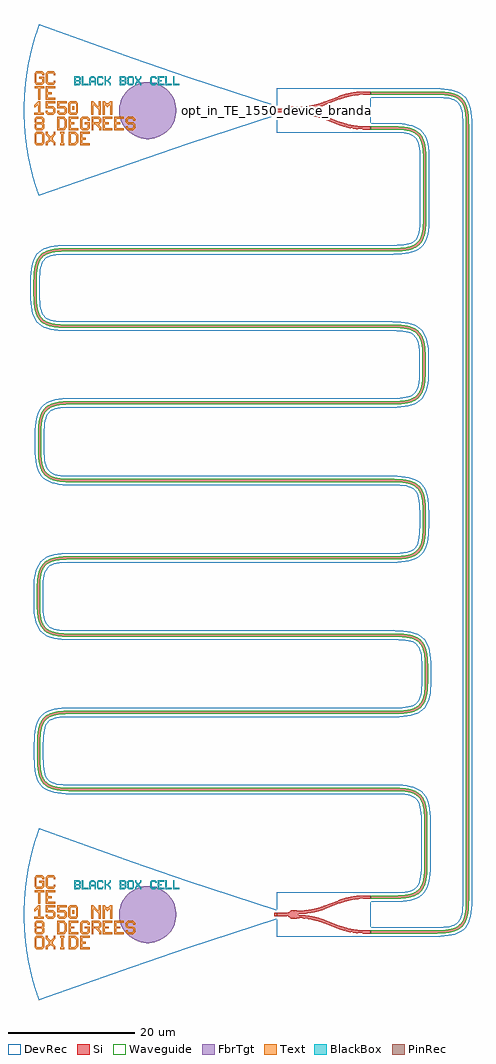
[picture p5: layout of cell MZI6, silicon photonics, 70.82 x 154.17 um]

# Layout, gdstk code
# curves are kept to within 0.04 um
import gdstk
lib = gdstk.Library(unit=1e-6, precision=1e-09)
def R(c, l, rs):  # rectangles x0, y0, x1, y1
    for r in rs: c.add(gdstk.rectangle(r[:2], r[2:], *l))
def P(c, l, *ps):  # polygons
    for p in ps: c.add(gdstk.Polygon(p, *l))
Si = (1, 0)
PinRec = (1, 10)
Waveguide = (1, 99)
Text = (10, 0)
DevRec = (68, 0)
FbrTgt = (81, 0)
BlackBox = (998, 0)

waveguide_4 = lib.new_cell('Waveguide$4')
P(waveguide_4, Si, [(-247.6,-193.41),(-247.6,-192.91),(-236.871,-192.905),(-235.739,-192.838),(-234.819,-192.681),(-234.205,-192.473),(-233.805,-192.253),(-233.476,-191.983),(-233.205,-191.653),(-232.813,-190.772),(-232.602,-189.545),(-232.549,-188.16),(-232.549,-65.66),(-232.64,-63.931),(-232.894,-62.795),(-233.334,-61.992),(-233.632,-61.694),(-233.996,-61.45),(-234.435,-61.254),(-235.103,-61.075),(-236.093,-60.948),(-237.082,-60.911),(-247.6,-60.91),(-247.6,-60.41),(-237.078,-60.411),(-235.868,-60.465),(-234.85,-60.617),(-234.132,-60.835),(-233.419,-61.227),(-232.948,-61.676),(-232.589,-62.237),(-232.294,-63.056),(-232.144,-63.869),(-232.059,-65.012),(-232.049,-188.16),(-232.104,-189.591),(-232.376,-191.053),(-232.588,-191.582),(-232.866,-192.04),(-233.216,-192.426),(-233.638,-192.74),(-234.131,-192.984),(-234.695,-193.165),(-235.685,-193.336),(-236.861,-193.405)])
P(waveguide_4, Waveguide, [(-247.6,-193.41),(-247.6,-192.91),(-236.871,-192.905),(-235.739,-192.838),(-234.819,-192.681),(-234.205,-192.473),(-233.805,-192.253),(-233.476,-191.983),(-233.205,-191.653),(-232.813,-190.772),(-232.602,-189.545),(-232.549,-188.16),(-232.549,-65.66),(-232.64,-63.931),(-232.894,-62.795),(-233.334,-61.992),(-233.632,-61.694),(-233.996,-61.45),(-234.435,-61.254),(-235.103,-61.075),(-236.093,-60.948),(-237.082,-60.911),(-247.6,-60.91),(-247.6,-60.41),(-237.078,-60.411),(-235.868,-60.465),(-234.85,-60.617),(-234.132,-60.835),(-233.419,-61.227),(-232.948,-61.676),(-232.589,-62.237),(-232.294,-63.056),(-232.144,-63.869),(-232.059,-65.012),(-232.049,-188.16),(-232.104,-189.591),(-232.376,-191.053),(-232.588,-191.582),(-232.866,-192.04),(-233.216,-192.426),(-233.638,-192.74),(-234.131,-192.984),(-234.695,-193.165),(-235.685,-193.336),(-236.861,-193.405)])
P(waveguide_4, DevRec, [(-247.6,-193.91),(-247.6,-192.41),(-236.649,-192.399),(-235.554,-192.312),(-234.723,-192.134),(-234.14,-191.874),(-233.923,-191.717),(-233.584,-191.318),(-233.224,-190.353),(-233.091,-189.39),(-233.049,-188.16),(-233.049,-65.66),(-233.147,-63.915),(-233.325,-63.084),(-233.445,-62.764),(-233.742,-62.284),(-233.924,-62.102),(-234.404,-61.805),(-235.555,-61.507),(-237.3,-61.41),(-247.6,-61.41),(-247.6,-59.91),(-237.298,-59.91),(-235.949,-59.956),(-234.79,-60.119),(-233.79,-60.437),(-232.95,-60.962),(-232.602,-61.31),(-232.311,-61.709),(-231.895,-62.632),(-231.661,-63.707),(-231.56,-64.958),(-231.549,-188.16),(-231.595,-189.51),(-231.758,-190.669),(-231.894,-191.187),(-232.31,-192.11),(-232.949,-192.857),(-233.348,-193.148),(-234.271,-193.564),(-235.346,-193.798),(-236.597,-193.899)])
waveguide_4.add(gdstk.FlexPath([(-247.59,-60.66),(-247.61,-60.66)], 0.5, ends="flush", simple_path=True, layer=1, datatype=10))  # PinRec
waveguide_4.add(gdstk.FlexPath([(-247.59,-193.16),(-247.61,-193.16)], 0.5, ends="flush", simple_path=True, layer=1, datatype=10))  # PinRec
waveguide_4.add(gdstk.Label('opt1', (-247.6,-60.66), layer=1, texttype=10))
waveguide_4.add(gdstk.Label('opt2', (-247.6,-193.16), layer=1, texttype=10))
waveguide_4.add(gdstk.Label('Lumerical_INTERCONNECT_library=Design kits/EBeam', (-247.6,-60.76), layer=68, texttype=0))
waveguide_4.add(gdstk.Label('Component=ebeam_wg_integral_1550', (-247.6,-60.56), layer=68, texttype=0))
waveguide_4.add(gdstk.Label('cellName=Waveguide', (-247.6,-60.46), layer=68, texttype=0))
waveguide_4.add(gdstk.Label('Spice_param:wg_length=0.000159999 wg_width=5e-07 points="[[-247.6,-60.66],[-232.299,-60.66],[-232.299,-193.16],[-247.6,-193.16]]" radius=5e-06', (-247.6,-60.66), layer=68, texttype=0))
waveguide_4.add(gdstk.Label('Length=159.999 (microns)', (-247.6,-61.26), layer=68, texttype=0))
waveguide_4.add(gdstk.Label('waveguide_type=Strip TE 1550 nm, w=500 nm', (-247.6,-60.86), layer=68, texttype=0))

waveguide = lib.new_cell('Waveguide')
P(waveguide, Si, [(-247.6,-187.91),(-247.6,-187.41),(-243.04,-187.392),(-241.98,-187.297),(-241.257,-187.145),(-240.669,-186.922),(-240.202,-186.625),(-239.776,-186.153),(-239.509,-185.641),(-239.257,-184.704),(-239.129,-183.291),(-239.159,-174.443),(-239.316,-173.308),(-239.608,-172.449),(-240.047,-171.827),(-240.67,-171.387),(-241.129,-171.203),(-241.826,-171.037),(-243.653,-170.901),(-295.02,-170.9),(-296.263,-170.859),(-297.151,-170.754),(-298.188,-170.474),(-299.004,-170.001),(-299.53,-169.421),(-299.943,-168.543),(-300.176,-167.44),(-300.266,-166.087),(-300.26,-162.822),(-300.094,-161.177),(-299.895,-160.437),(-299.667,-159.926),(-299.286,-159.387),(-298.9,-159.037),(-298.317,-158.7),(-297.77,-158.504),(-296.983,-158.338),(-296.069,-158.247),(-243.77,-158.22),(-242.563,-158.181),(-241.428,-158.024),(-240.466,-157.679),(-240.102,-157.435),(-239.804,-157.137),(-239.364,-156.334),(-239.11,-155.198),(-239.024,-153.897),(-239.02,-151.29),(-239.111,-149.561),(-239.249,-148.81),(-239.457,-148.196),(-239.677,-147.796),(-240.024,-147.393),(-240.57,-147.027),(-241.291,-146.768),(-242.211,-146.611),(-243.343,-146.544),(-295.06,-146.54),(-296.303,-146.499),(-297.191,-146.394),(-298.228,-146.114),(-298.941,-145.722),(-299.493,-145.17),(-299.936,-144.322),(-300.165,-143.42),(-300.293,-142.141),(-300.308,-138.847),(-300.236,-137.456),(-300.102,-136.62),(-299.884,-135.902),(-299.569,-135.298),(-299.142,-134.803),(-298.603,-134.422),(-297.953,-134.147),(-297.19,-133.965),(-296.109,-133.847),(-244.11,-133.82),(-242.903,-133.781),(-241.768,-133.624),(-240.806,-133.279),(-240.213,-132.816),(-239.796,-132.163),(-239.497,-131.114),(-239.364,-129.497),(-239.399,-125.653),(-239.589,-124.38),(-239.797,-123.766),(-240.017,-123.366),(-240.528,-122.829),(-241.246,-122.454),(-242.221,-122.222),(-243.479,-122.119),(-294.88,-122.11),(-296.123,-122.069),(-297.011,-121.964),(-298.048,-121.684),(-298.761,-121.292),(-299.313,-120.74),(-299.756,-119.892),(-299.985,-118.99),(-300.113,-117.711),(-300.13,-114.58),(-300.074,-113.148),(-299.954,-112.287),(-299.755,-111.547),(-299.46,-110.919),(-299.057,-110.403),(-298.54,-109.999),(-297.912,-109.704),(-297.172,-109.505),(-296.122,-109.37),(-244.15,-109.33),(-242.943,-109.291),(-241.808,-109.134),(-240.846,-108.789),(-240.253,-108.326),(-239.836,-107.673),(-239.565,-106.776),(-239.409,-105.211),(-239.418,-101.65),(-239.596,-100.138),(-239.941,-99.176),(-240.185,-98.812),(-240.483,-98.514),(-241.169,-98.119),(-242.106,-97.867),(-243.519,-97.739),(-295.595,-97.73),(-297.559,-97.611),(-298.628,-97.355),(-299.367,-96.989),(-300.028,-96.36),(-300.42,-95.647),(-300.67,-94.772),(-300.805,-93.722),(-300.835,-89.762),(-300.75,-88.619),(-300.6,-87.806),(-300.305,-86.987),(-299.946,-86.426),(-299.475,-85.977),(-298.762,-85.585),(-298.044,-85.367),(-297.026,-85.215),(-295.595,-85.16),(-244.04,-85.16),(-242.311,-85.069),(-241.698,-84.964),(-241.058,-84.77),(-240.372,-84.375),(-240.074,-84.077),(-239.83,-83.713),(-239.518,-82.889),(-239.343,-81.795),(-239.29,-80.41),(-239.295,-70.732),(-239.403,-69.27),(-239.635,-68.295),(-239.947,-67.666),(-240.373,-67.194),(-240.947,-66.846),(-241.699,-66.605),(-243.409,-66.419),(-247.6,-66.41),(-247.6,-65.91),(-243.393,-65.919),(-242.25,-66.004),(-241.437,-66.154),(-240.743,-66.39),(-240.16,-66.727),(-239.689,-67.176),(-239.33,-67.737),(-239.075,-68.409),(-238.885,-69.369),(-238.79,-71.16),(-238.791,-80.631),(-238.884,-82.2),(-239.117,-83.303),(-239.53,-84.181),(-240.159,-84.842),(-240.872,-85.234),(-241.436,-85.415),(-242.249,-85.565),(-244.04,-85.66),(-296.801,-85.698),(-297.791,-85.825),(-298.459,-86.004),(-299.088,-86.316),(-299.56,-86.742),(-299.908,-87.316),(-300.116,-87.93),(-300.254,-88.681),(-300.335,-89.778),(-300.307,-93.686),(-300.18,-94.676),(-299.956,-95.461),(-299.561,-96.147),(-299.089,-96.573),(-298.46,-96.885),(-297.485,-97.117),(-295.595,-97.23),(-243.503,-97.239),(-242.02,-97.375),(-240.853,-97.71),(-240.068,-98.213),(-239.503,-98.936),(-239.275,-99.447),(-239.108,-100.03),(-238.918,-101.628),(-238.909,-105.227),(-238.973,-106.193),(-239.107,-107.029),(-239.439,-108.002),(-239.973,-108.757),(-240.727,-109.29),(-241.7,-109.622),(-242.718,-109.774),(-244.15,-109.83),(-296.086,-109.868),(-296.924,-109.967),(-297.621,-110.133),(-298.183,-110.37),(-298.626,-110.683),(-298.973,-111.086),(-299.285,-111.715),(-299.464,-112.383),(-299.576,-113.194),(-299.621,-117.491),(-299.518,-118.749),(-299.327,-119.601),(-298.974,-120.353),(-298.548,-120.825),(-297.862,-121.22),(-296.925,-121.472),(-296.087,-121.571),(-294.88,-121.61),(-243.463,-121.619),(-241.98,-121.755),(-240.943,-122.035),(-240.23,-122.427),(-239.601,-123.088),(-239.341,-123.562),(-239.145,-124.109),(-238.901,-125.617),(-238.864,-129.507),(-238.915,-130.501),(-239.035,-131.362),(-239.399,-132.492),(-239.933,-133.247),(-240.687,-133.78),(-241.66,-134.112),(-242.678,-134.264),(-244.11,-134.32),(-296.081,-134.347),(-296.949,-134.432),(-297.672,-134.584),(-298.26,-134.807),(-298.727,-135.104),(-299.09,-135.487),(-299.373,-135.976),(-299.581,-136.59),(-299.719,-137.341),(-299.805,-138.642),(-299.801,-141.921),(-299.698,-143.179),(-299.507,-144.031),(-299.154,-144.783),(-298.728,-145.255),(-298.042,-145.65),(-297.105,-145.902),(-296.267,-146.001),(-295.06,-146.04),(-243.333,-146.044),(-241.98,-146.134),(-241.02,-146.324),(-240.227,-146.642),(-239.593,-147.113),(-239.261,-147.518),(-238.946,-148.122),(-238.728,-148.84),(-238.594,-149.676),(-238.525,-150.852),(-238.521,-153.691),(-238.638,-155.433),(-238.945,-156.637),(-239.189,-157.13),(-239.503,-157.552),(-240.226,-158.117),(-240.737,-158.345),(-241.32,-158.512),(-242.338,-158.664),(-243.77,-158.72),(-295.849,-158.737),(-296.748,-158.81),(-297.499,-158.948),(-298.113,-159.156),(-298.513,-159.376),(-298.916,-159.723),(-299.229,-160.166),(-299.425,-160.605),(-299.604,-161.273),(-299.76,-162.838),(-299.769,-165.867),(-299.699,-167.209),(-299.506,-168.262),(-299.173,-169.05),(-298.688,-169.615),(-298.002,-170.01),(-297.065,-170.262),(-296.227,-170.361),(-295.02,-170.4),(-243.649,-170.401),(-241.74,-170.545),(-240.977,-170.727),(-240.448,-170.939),(-239.693,-171.473),(-239.223,-172.106),(-238.865,-173.046),(-238.676,-174.218),(-238.62,-175.65),(-238.629,-183.307),(-238.765,-184.79),(-239.045,-185.827),(-239.437,-186.54),(-239.886,-187.011),(-240.447,-187.37),(-241.266,-187.665),(-242.079,-187.815),(-243.222,-187.9)])
P(waveguide, Waveguide, [(-247.6,-187.91),(-247.6,-187.41),(-243.04,-187.392),(-241.98,-187.297),(-241.257,-187.145),(-240.669,-186.922),(-240.202,-186.625),(-239.776,-186.153),(-239.509,-185.641),(-239.257,-184.704),(-239.129,-183.291),(-239.159,-174.443),(-239.316,-173.308),(-239.608,-172.449),(-240.047,-171.827),(-240.67,-171.387),(-241.129,-171.203),(-241.826,-171.037),(-243.653,-170.901),(-295.02,-170.9),(-296.263,-170.859),(-297.151,-170.754),(-298.188,-170.474),(-299.004,-170.001),(-299.53,-169.421),(-299.943,-168.543),(-300.176,-167.44),(-300.266,-166.087),(-300.26,-162.822),(-300.094,-161.177),(-299.895,-160.437),(-299.667,-159.926),(-299.286,-159.387),(-298.9,-159.037),(-298.317,-158.7),(-297.77,-158.504),(-296.983,-158.338),(-296.069,-158.247),(-243.77,-158.22),(-242.563,-158.181),(-241.428,-158.024),(-240.466,-157.679),(-240.102,-157.435),(-239.804,-157.137),(-239.364,-156.334),(-239.11,-155.198),(-239.024,-153.897),(-239.02,-151.29),(-239.111,-149.561),(-239.249,-148.81),(-239.457,-148.196),(-239.677,-147.796),(-240.024,-147.393),(-240.57,-147.027),(-241.291,-146.768),(-242.211,-146.611),(-243.343,-146.544),(-295.06,-146.54),(-296.303,-146.499),(-297.191,-146.394),(-298.228,-146.114),(-298.941,-145.722),(-299.493,-145.17),(-299.936,-144.322),(-300.165,-143.42),(-300.293,-142.141),(-300.308,-138.847),(-300.236,-137.456),(-300.102,-136.62),(-299.884,-135.902),(-299.569,-135.298),(-299.142,-134.803),(-298.603,-134.422),(-297.953,-134.147),(-297.19,-133.965),(-296.109,-133.847),(-244.11,-133.82),(-242.903,-133.781),(-241.768,-133.624),(-240.806,-133.279),(-240.213,-132.816),(-239.796,-132.163),(-239.497,-131.114),(-239.364,-129.497),(-239.399,-125.653),(-239.589,-124.38),(-239.797,-123.766),(-240.017,-123.366),(-240.528,-122.829),(-241.246,-122.454),(-242.221,-122.222),(-243.479,-122.119),(-294.88,-122.11),(-296.123,-122.069),(-297.011,-121.964),(-298.048,-121.684),(-298.761,-121.292),(-299.313,-120.74),(-299.756,-119.892),(-299.985,-118.99),(-300.113,-117.711),(-300.13,-114.58),(-300.074,-113.148),(-299.954,-112.287),(-299.755,-111.547),(-299.46,-110.919),(-299.057,-110.403),(-298.54,-109.999),(-297.912,-109.704),(-297.172,-109.505),(-296.122,-109.37),(-244.15,-109.33),(-242.943,-109.291),(-241.808,-109.134),(-240.846,-108.789),(-240.253,-108.326),(-239.836,-107.673),(-239.565,-106.776),(-239.409,-105.211),(-239.418,-101.65),(-239.596,-100.138),(-239.941,-99.176),(-240.185,-98.812),(-240.483,-98.514),(-241.169,-98.119),(-242.106,-97.867),(-243.519,-97.739),(-295.595,-97.73),(-297.559,-97.611),(-298.628,-97.355),(-299.367,-96.989),(-300.028,-96.36),(-300.42,-95.647),(-300.67,-94.772),(-300.805,-93.722),(-300.835,-89.762),(-300.75,-88.619),(-300.6,-87.806),(-300.305,-86.987),(-299.946,-86.426),(-299.475,-85.977),(-298.762,-85.585),(-298.044,-85.367),(-297.026,-85.215),(-295.595,-85.16),(-244.04,-85.16),(-242.311,-85.069),(-241.698,-84.964),(-241.058,-84.77),(-240.372,-84.375),(-240.074,-84.077),(-239.83,-83.713),(-239.518,-82.889),(-239.343,-81.795),(-239.29,-80.41),(-239.295,-70.732),(-239.403,-69.27),(-239.635,-68.295),(-239.947,-67.666),(-240.373,-67.194),(-240.947,-66.846),(-241.699,-66.605),(-243.409,-66.419),(-247.6,-66.41),(-247.6,-65.91),(-243.393,-65.919),(-242.25,-66.004),(-241.437,-66.154),(-240.743,-66.39),(-240.16,-66.727),(-239.689,-67.176),(-239.33,-67.737),(-239.075,-68.409),(-238.885,-69.369),(-238.79,-71.16),(-238.791,-80.631),(-238.884,-82.2),(-239.117,-83.303),(-239.53,-84.181),(-240.159,-84.842),(-240.872,-85.234),(-241.436,-85.415),(-242.249,-85.565),(-244.04,-85.66),(-296.801,-85.698),(-297.791,-85.825),(-298.459,-86.004),(-299.088,-86.316),(-299.56,-86.742),(-299.908,-87.316),(-300.116,-87.93),(-300.254,-88.681),(-300.335,-89.778),(-300.307,-93.686),(-300.18,-94.676),(-299.956,-95.461),(-299.561,-96.147),(-299.089,-96.573),(-298.46,-96.885),(-297.485,-97.117),(-295.595,-97.23),(-243.503,-97.239),(-242.02,-97.375),(-240.853,-97.71),(-240.068,-98.213),(-239.503,-98.936),(-239.275,-99.447),(-239.108,-100.03),(-238.918,-101.628),(-238.909,-105.227),(-238.973,-106.193),(-239.107,-107.029),(-239.439,-108.002),(-239.973,-108.757),(-240.727,-109.29),(-241.7,-109.622),(-242.718,-109.774),(-244.15,-109.83),(-296.086,-109.868),(-296.924,-109.967),(-297.621,-110.133),(-298.183,-110.37),(-298.626,-110.683),(-298.973,-111.086),(-299.285,-111.715),(-299.464,-112.383),(-299.576,-113.194),(-299.621,-117.491),(-299.518,-118.749),(-299.327,-119.601),(-298.974,-120.353),(-298.548,-120.825),(-297.862,-121.22),(-296.925,-121.472),(-296.087,-121.571),(-294.88,-121.61),(-243.463,-121.619),(-241.98,-121.755),(-240.943,-122.035),(-240.23,-122.427),(-239.601,-123.088),(-239.341,-123.562),(-239.145,-124.109),(-238.901,-125.617),(-238.864,-129.507),(-238.915,-130.501),(-239.035,-131.362),(-239.399,-132.492),(-239.933,-133.247),(-240.687,-133.78),(-241.66,-134.112),(-242.678,-134.264),(-244.11,-134.32),(-296.081,-134.347),(-296.949,-134.432),(-297.672,-134.584),(-298.26,-134.807),(-298.727,-135.104),(-299.09,-135.487),(-299.373,-135.976),(-299.581,-136.59),(-299.719,-137.341),(-299.805,-138.642),(-299.801,-141.921),(-299.698,-143.179),(-299.507,-144.031),(-299.154,-144.783),(-298.728,-145.255),(-298.042,-145.65),(-297.105,-145.902),(-296.267,-146.001),(-295.06,-146.04),(-243.333,-146.044),(-241.98,-146.134),(-241.02,-146.324),(-240.227,-146.642),(-239.593,-147.113),(-239.261,-147.518),(-238.946,-148.122),(-238.728,-148.84),(-238.594,-149.676),(-238.525,-150.852),(-238.521,-153.691),(-238.638,-155.433),(-238.945,-156.637),(-239.189,-157.13),(-239.503,-157.552),(-240.226,-158.117),(-240.737,-158.345),(-241.32,-158.512),(-242.338,-158.664),(-243.77,-158.72),(-295.849,-158.737),(-296.748,-158.81),(-297.499,-158.948),(-298.113,-159.156),(-298.513,-159.376),(-298.916,-159.723),(-299.229,-160.166),(-299.425,-160.605),(-299.604,-161.273),(-299.76,-162.838),(-299.769,-165.867),(-299.699,-167.209),(-299.506,-168.262),(-299.173,-169.05),(-298.688,-169.615),(-298.002,-170.01),(-297.065,-170.262),(-296.227,-170.361),(-295.02,-170.4),(-243.649,-170.401),(-241.74,-170.545),(-240.977,-170.727),(-240.448,-170.939),(-239.693,-171.473),(-239.223,-172.106),(-238.865,-173.046),(-238.676,-174.218),(-238.62,-175.65),(-238.629,-183.307),(-238.765,-184.79),(-239.045,-185.827),(-239.437,-186.54),(-239.886,-187.011),(-240.447,-187.37),(-241.266,-187.665),(-242.079,-187.815),(-243.222,-187.9)])
P(waveguide, DevRec, [(-247.6,-188.41),(-247.6,-186.91),(-243.22,-186.899),(-241.676,-186.734),(-240.711,-186.374),(-240.312,-186.035),(-240.015,-185.555),(-239.717,-184.404),(-239.63,-183.309),(-239.663,-174.419),(-239.796,-173.456),(-240.016,-172.754),(-240.313,-172.274),(-240.495,-172.092),(-240.975,-171.795),(-242.126,-171.497),(-243.87,-171.4),(-295.02,-171.4),(-296.371,-171.353),(-297.53,-171.19),(-298.53,-170.872),(-299.37,-170.347),(-300.009,-169.6),(-300.425,-168.677),(-300.659,-167.602),(-300.76,-166.351),(-300.759,-162.768),(-300.56,-160.96),(-300.242,-159.96),(-300.008,-159.519),(-299.369,-158.772),(-298.97,-158.481),(-298.047,-158.065),(-297.529,-157.929),(-296.37,-157.766),(-295.02,-157.72),(-243.77,-157.72),(-242.539,-157.677),(-241.576,-157.544),(-240.874,-157.324),(-240.394,-157.027),(-240.212,-156.845),(-239.915,-156.365),(-239.795,-156.045),(-239.617,-155.214),(-239.52,-153.467),(-239.563,-150.059),(-239.796,-148.714),(-240.056,-148.131),(-240.395,-147.732),(-240.875,-147.435),(-241.577,-147.215),(-243.121,-147.05),(-295.06,-147.04),(-296.411,-146.993),(-297.57,-146.83),(-298.57,-146.512),(-299.41,-145.987),(-300.049,-145.24),(-300.465,-144.317),(-300.699,-143.242),(-300.8,-141.991),(-300.799,-138.368),(-300.698,-137.117),(-300.464,-136.042),(-300.282,-135.56),(-299.757,-134.72),(-299.409,-134.372),(-299.01,-134.081),(-298.087,-133.665),(-297.569,-133.529),(-296.41,-133.366),(-295.06,-133.32),(-244.11,-133.32),(-242.879,-133.277),(-241.916,-133.144),(-241.214,-132.924),(-240.734,-132.627),(-240.552,-132.445),(-240.255,-131.965),(-240.135,-131.645),(-239.957,-130.814),(-239.86,-129.067),(-239.903,-125.629),(-240.036,-124.666),(-240.396,-123.701),(-240.553,-123.484),(-240.952,-123.145),(-241.535,-122.885),(-242.366,-122.707),(-243.461,-122.62),(-294.88,-122.61),(-296.833,-122.498),(-297.908,-122.264),(-298.831,-121.848),(-299.578,-121.209),(-300.103,-120.369),(-300.421,-119.369),(-300.584,-118.21),(-300.63,-114.577),(-300.583,-113.229),(-300.42,-112.07),(-300.284,-111.552),(-299.868,-110.629),(-299.577,-110.23),(-299.229,-109.882),(-298.389,-109.357),(-297.389,-109.039),(-296.23,-108.876),(-294.88,-108.83),(-244.15,-108.83),(-242.919,-108.787),(-241.956,-108.654),(-241.254,-108.434),(-240.774,-108.137),(-240.592,-107.955),(-240.295,-107.475),(-240.175,-107.155),(-239.997,-106.324),(-239.9,-104.577),(-239.943,-101.249),(-240.076,-100.286),(-240.436,-99.321),(-240.593,-99.104),(-240.992,-98.765),(-241.575,-98.505),(-242.406,-98.327),(-243.501,-98.24),(-295.595,-98.23),(-297.548,-98.118),(-298.623,-97.884),(-299.546,-97.468),(-300.293,-96.829),(-300.818,-95.989),(-301.136,-94.989),(-301.299,-93.83),(-301.334,-89.708),(-301.233,-88.457),(-300.999,-87.382),(-300.583,-86.459),(-300.292,-86.06),(-299.944,-85.712),(-299.104,-85.187),(-298.104,-84.869),(-296.945,-84.706),(-295.595,-84.66),(-244.04,-84.66),(-242.295,-84.562),(-241.144,-84.264),(-240.664,-83.967),(-240.482,-83.785),(-240.185,-83.305),(-239.965,-82.603),(-239.832,-81.64),(-239.801,-70.51),(-239.888,-69.415),(-240.066,-68.584),(-240.326,-68.001),(-240.665,-67.602),(-241.145,-67.305),(-241.847,-67.085),(-243.391,-66.92),(-247.6,-66.91),(-247.6,-65.41),(-243.339,-65.42),(-242.088,-65.521),(-241.013,-65.755),(-240.09,-66.171),(-239.691,-66.462),(-239.343,-66.81),(-238.818,-67.65),(-238.636,-68.132),(-238.402,-69.207),(-238.29,-71.159),(-238.29,-80.411),(-238.401,-82.362),(-238.635,-83.437),(-239.051,-84.36),(-239.69,-85.107),(-240.53,-85.632),(-241.012,-85.814),(-242.087,-86.048),(-244.04,-86.16),(-295.595,-86.16),(-296.825,-86.202),(-298.17,-86.435),(-298.753,-86.695),(-299.152,-87.034),(-299.449,-87.514),(-299.669,-88.216),(-299.834,-89.76),(-299.835,-93.129),(-299.748,-94.224),(-299.57,-95.055),(-299.31,-95.638),(-299.153,-95.855),(-298.754,-96.194),(-298.171,-96.454),(-297.34,-96.632),(-295.595,-96.73),(-243.449,-96.74),(-241.641,-96.939),(-240.641,-97.257),(-239.801,-97.782),(-239.453,-98.13),(-238.928,-98.97),(-238.61,-99.97),(-238.411,-101.778),(-238.41,-105.281),(-238.609,-107.089),(-238.927,-108.089),(-239.452,-108.929),(-240.199,-109.568),(-240.64,-109.802),(-241.64,-110.12),(-242.799,-110.283),(-244.15,-110.33),(-294.88,-110.33),(-296.11,-110.372),(-297.455,-110.605),(-297.775,-110.725),(-298.255,-111.022),(-298.594,-111.421),(-298.854,-112.004),(-299.087,-113.349),(-299.12,-117.509),(-299.033,-118.604),(-298.855,-119.435),(-298.595,-120.018),(-298.438,-120.235),(-298.039,-120.574),(-297.456,-120.834),(-296.625,-121.012),(-294.88,-121.11),(-243.409,-121.12),(-241.601,-121.319),(-240.601,-121.637),(-239.761,-122.162),(-239.122,-122.909),(-238.706,-123.832),(-238.57,-124.35),(-238.407,-125.509),(-238.37,-129.771),(-238.569,-131.579),(-238.887,-132.579),(-239.412,-133.419),(-240.159,-134.058),(-240.6,-134.292),(-241.6,-134.61),(-242.759,-134.773),(-244.11,-134.82),(-295.709,-134.83),(-297.253,-134.995),(-298.218,-135.355),(-298.617,-135.694),(-298.914,-136.174),(-299.212,-137.325),(-299.299,-138.42),(-299.3,-141.939),(-299.213,-143.034),(-299.035,-143.865),(-298.775,-144.448),(-298.618,-144.665),(-298.219,-145.004),(-297.636,-145.264),(-296.805,-145.442),(-295.06,-145.54),(-243.069,-145.55),(-241.818,-145.651),(-240.743,-145.885),(-239.82,-146.301),(-239.421,-146.592),(-239.073,-146.94),(-238.548,-147.78),(-238.366,-148.262),(-238.132,-149.337),(-238.02,-151.287),(-238.03,-154.171),(-238.131,-155.422),(-238.365,-156.497),(-238.547,-156.979),(-239.072,-157.819),(-239.819,-158.458),(-240.26,-158.692),(-241.26,-159.01),(-242.419,-159.173),(-243.77,-159.22),(-295.669,-159.23),(-297.213,-159.395),(-298.178,-159.755),(-298.395,-159.912),(-298.734,-160.311),(-299.094,-161.276),(-299.259,-162.82),(-299.27,-165.647),(-299.228,-166.88),(-298.995,-168.225),(-298.735,-168.808),(-298.578,-169.025),(-298.179,-169.364),(-297.596,-169.624),(-296.765,-169.802),(-295.02,-169.9),(-243.87,-169.9),(-241.918,-170.011),(-240.843,-170.245),(-240.361,-170.427),(-239.521,-170.952),(-238.882,-171.699),(-238.466,-172.622),(-238.232,-173.697),(-238.12,-175.649),(-238.13,-183.361),(-238.329,-185.169),(-238.647,-186.169),(-239.172,-187.009),(-239.52,-187.357),(-240.36,-187.882),(-241.36,-188.2),(-243.168,-188.399)])
waveguide.add(gdstk.FlexPath([(-247.59,-66.16),(-247.61,-66.16)], 0.5, ends="flush", simple_path=True, layer=1, datatype=10))  # PinRec
waveguide.add(gdstk.FlexPath([(-247.59,-187.66),(-247.61,-187.66)], 0.5, ends="flush", simple_path=True, layer=1, datatype=10))  # PinRec
waveguide.add(gdstk.Label('opt1', (-247.6,-66.16), layer=1, texttype=10))
waveguide.add(gdstk.Label('opt2', (-247.6,-187.66), layer=1, texttype=10))
waveguide.add(gdstk.Label('Lumerical_INTERCONNECT_library=Design kits/EBeam', (-247.6,-66.26), layer=68, texttype=0))
waveguide.add(gdstk.Label('Component=ebeam_wg_integral_1550', (-247.6,-66.06), layer=68, texttype=0))
waveguide.add(gdstk.Label('cellName=Waveguide', (-247.6,-65.96), layer=68, texttype=0))
waveguide.add(gdstk.Label('Length=600.000 (microns)', (-247.6,-66.76), layer=68, texttype=0))
waveguide.add(gdstk.Label('waveguide_type=Strip TE 1550 nm, w=500 nm', (-247.6,-66.36), layer=68, texttype=0))

ebeam_y_1550 = lib.new_cell('ebeam_y_1550')
R(ebeam_y_1550, Si, [(6.5,-3,7.4,-2.5), (-7.4,-0.25,-6,0.25), (6.5,2.5,7.4,3)])
P(ebeam_y_1550, Si, [(6.458,-3),(6.237,-2.997),(6.237,-2.497),(6.5,-2.5),(6.5,-3)],
  [(5.033,-2.908),(3.59,-2.634),(2.265,-2.21),(2.445,-1.744),(3.731,-2.154),(5.033,-2.404)],
  [(6.233,-2.997),(5.033,-2.908),(5.033,-2.404),(6.237,-2.497)],
  [(2.265,-2.21),(0.055,-1.356),(0.235,-0.89),(2.445,-1.744)],
  [(-0.762,-1.076),(-2.334,-0.724),(-4,-0.6),(-4,-0.1),(-2.381,-0.212),(-0.762,-0.555)],
  [(0.055,-1.356),(-0.762,-1.076),(-0.762,-0.555),(0.235,-0.89)],
  [(6.237,2.497),(6.237,2.997),(6.5,3),(6.5,2.5)],
  [(2.445,1.744),(2.267,2.211),(3.59,2.634),(5.033,2.908),(5.033,2.404),(3.731,2.154)],
  [(5.033,2.404),(5.033,2.908),(6.237,2.997),(6.237,2.497)],
  [(0.235,0.89),(0.055,1.356),(2.265,2.21),(2.445,1.744)],
  [(-4,0.1),(-4,0.6),(-2.334,0.724),(-0.762,1.076),(-0.762,0.555),(-2.381,0.212)],
  [(-0.762,0.555),(-0.762,1.076),(0.055,1.356),(0.235,0.89)],
  [(-5.122,-0.662),(-5.442,-0.374),(-5.808,-0.255),(-6,-0.25),(-6,0.25),(-5.817,0.253),(-5.442,0.374),(-5.122,0.662)],
  [(-4.957,-0.703),(-5.122,-0.662),(-5.122,0.662),(-4.538,0.703),(-4,0.6),(-4,-0.6),(-4.509,-0.701)])
R(ebeam_y_1550, DevRec, [(-7.4,-3.5,7.4,3.5)])
ebeam_y_1550.add(gdstk.FlexPath([(-7.35,0),(-7.45,0)], 0.5, ends="flush", simple_path=True, layer=1, datatype=10))  # PinRec
ebeam_y_1550.add(gdstk.FlexPath([(7.35,2.75),(7.45,2.75)], 0.5, ends="flush", simple_path=True, layer=1, datatype=10))  # PinRec
ebeam_y_1550.add(gdstk.FlexPath([(7.35,-2.75),(7.45,-2.75)], 0.5, ends="flush", simple_path=True, layer=1, datatype=10))  # PinRec
ebeam_y_1550.add(gdstk.Label('opt2', (7.4,2.75), layer=1, texttype=10))
ebeam_y_1550.add(gdstk.Label('opt3', (7.4,-2.75), layer=1, texttype=10))
ebeam_y_1550.add(gdstk.Label('opt1', (-7.4,0), layer=1, texttype=10))
ebeam_y_1550.add(gdstk.Label('Component=ebeam_y_1550', (-6,1.5), layer=68, texttype=0))
ebeam_y_1550.add(gdstk.Label('Lumerical_INTERCONNECT_library=Design kits/ebeam', (-6.86,-2.19), layer=68, texttype=0))
ebeam_y_1550.add(gdstk.Label('Ref: Y Zhang, Opt. Express, 21/1, 2013', (-7.5,-1), layer=10, texttype=0))

text = lib.new_cell('TEXT')
P(text, BlackBox, [(0,0),(0,1.4),(0.8,1.4),(1,1.2),(0.2,1.2),(0.2,0.8),(0.7,0.8),(0.8,0.9),(0.8,1.1),(0.7,1.2),(1,1.2),(1,0.8),(0.9,0.7),(1,0.6),(0.2,0.6),(0.2,0.2),(0.7,0.2),(0.8,0.3),(0.8,0.5),(0.7,0.6),(1,0.6),(1,0.2),(0.8,0)],
  [(1.2,0),(1.2,1.4),(1.4,1.4),(1.4,0.2),(2.2,0.2),(2.2,0)],
  [(2.4,0),(2.4,1.1),(2.7,1.4),(3.1,1.4),(3.3,1.2),(2.8,1.2),(2.6,1),(2.6,0.7),(3.2,0.7),(3.2,1),(3,1.2),(3.3,1.2),(3.4,1.1),(3.4,0),(3.2,0),(3.2,0.5),(2.6,0.5),(2.6,0)],
  [(3.8,0),(3.6,0.2),(3.6,1.2),(3.8,1.4),(4.4,1.4),(4.6,1.2),(4.6,1),(4.4,1),(4.4,1.1),(4.3,1.2),(3.9,1.2),(3.8,1.1),(3.8,0.3),(3.9,0.2),(4.3,0.2),(4.4,0.3),(4.4,0.4),(4.6,0.4),(4.6,0.2),(4.4,0)],
  [(4.8,0),(4.8,1.4),(5,1.4),(5,0.8),(5.2,0.8),(5.6,1.2),(5.6,1.4),(5.8,1.4),(5.8,1.1),(5.4,0.7),(5.8,0.3),(5.8,0),(5.6,0),(5.6,0.2),(5.2,0.6),(5,0.6),(5,0)],
  [(7.2,0),(7.2,1.4),(8,1.4),(8.2,1.2),(7.4,1.2),(7.4,0.8),(7.9,0.8),(8,0.9),(8,1.1),(7.9,1.2),(8.2,1.2),(8.2,0.8),(8.1,0.7),(8.2,0.6),(7.4,0.6),(7.4,0.2),(7.9,0.2),(8,0.3),(8,0.5),(7.9,0.6),(8.2,0.6),(8.2,0.2),(8,0)],
  [(8.6,0),(8.4,0.2),(8.4,1.2),(8.6,1.4),(9.2,1.4),(9.4,1.2),(9.4,0.7),(9.2,0.7),(9.2,1.1),(9.1,1.2),(8.7,1.2),(8.6,1.1),(8.6,0.3),(8.7,0.2),(9.1,0.2),(9.2,0.3),(9.2,0.7),(9.4,0.7),(9.4,0.2),(9.2,0)],
  [(9.6,0),(9.6,0.3),(9.9,0.6),(9.9,0.8),(9.6,1.1),(9.6,1.4),(9.8,1.4),(9.8,1.2),(10.1,0.9),(10.4,1.2),(10.4,1.4),(10.6,1.4),(10.6,1.1),(10.3,0.8),(10.3,0.6),(10.6,0.3),(10.6,0),(10.4,0),(10.4,0.2),(10.1,0.5),(9.8,0.2),(9.8,0)],
  [(12.2,0),(12,0.2),(12,1.2),(12.2,1.4),(12.8,1.4),(13,1.2),(13,1),(12.8,1),(12.8,1.1),(12.7,1.2),(12.3,1.2),(12.2,1.1),(12.2,0.3),(12.3,0.2),(12.7,0.2),(12.8,0.3),(12.8,0.4),(13,0.4),(13,0.2),(12.8,0)],
  [(13.2,0),(13.2,1.4),(14.2,1.4),(14.2,1.2),(13.4,1.2),(13.4,0.8),(13.8,0.8),(13.8,0.6),(13.4,0.6),(13.4,0.2),(14.2,0.2),(14.2,0)],
  [(14.4,0),(14.4,1.4),(14.6,1.4),(14.6,0.2),(15.4,0.2),(15.4,0)],
  [(15.6,0),(15.6,1.4),(15.8,1.4),(15.8,0.2),(16.6,0.2),(16.6,0)])

gc_te_1550_8degoxide_bb = lib.new_cell('GC_TE_1550_8degOxide_BB')
R(gc_te_1550_8degoxide_bb, Si, [(-0.4,-0.25,0,0.25)])
R(gc_te_1550_8degoxide_bb, Text, [(-32.313,0.092,-32.013,0.692)])
P(gc_te_1550_8degoxide_bb, Text, [(-37.67,1.71),(-37.67,3.51),(-38.27,3.51),(-38.27,3.81),(-36.77,3.81),(-36.77,3.51),(-37.37,3.51),(-37.37,1.71)],
  [(-37.97,-5.49),(-38.27,-5.19),(-38.27,-3.69),(-37.97,-3.39),(-37.07,-3.39),(-36.77,-3.69),(-36.77,-4.44),(-37.07,-4.44),(-37.07,-3.84),(-37.22,-3.69),(-37.82,-3.69),(-37.97,-3.84),(-37.97,-5.04),(-37.82,-5.19),(-37.22,-5.19),(-37.07,-5.04),(-37.07,-4.44),(-36.77,-4.44),(-36.77,-5.19),(-37.07,-5.49)],
  [(-31.07,-5.49),(-31.07,-3.39),(-29.57,-3.39),(-29.57,-3.69),(-30.77,-3.69),(-30.77,-4.29),(-30.17,-4.29),(-30.17,-4.59),(-30.77,-4.59),(-30.77,-5.19),(-29.57,-5.19),(-29.57,-5.49)],
  [(-32.87,-3.09),(-32.87,-0.99),(-31.37,-0.99),(-31.37,-1.29),(-32.57,-1.29),(-32.57,-1.89),(-31.97,-1.89),(-31.97,-2.19),(-32.57,-2.19),(-32.57,-2.79),(-31.37,-2.79),(-31.37,-3.09)],
  [(-27.47,-3.09),(-27.47,-0.99),(-25.97,-0.99),(-25.97,-1.29),(-27.17,-1.29),(-27.17,-1.89),(-26.57,-1.89),(-26.57,-2.19),(-27.17,-2.19),(-27.17,-2.79),(-25.97,-2.79),(-25.97,-3.09)],
  [(-25.67,-3.09),(-25.67,-0.99),(-24.17,-0.99),(-24.17,-1.29),(-25.37,-1.29),(-25.37,-1.89),(-24.77,-1.89),(-24.77,-2.19),(-25.37,-2.19),(-25.37,-2.79),(-24.17,-2.79),(-24.17,-3.09)],
  [(-36.47,1.71),(-36.47,3.81),(-34.97,3.81),(-34.97,3.51),(-36.17,3.51),(-36.17,2.91),(-35.57,2.91),(-35.57,2.61),(-36.17,2.61),(-36.17,2.01),(-34.97,2.01),(-34.97,1.71)],
  [(-29.313,-0.658),(-29.313,1.442),(-29.013,1.442),(-28.263,0.692),(-28.113,0.692),(-28.113,1.442),(-27.813,1.442),(-27.813,-0.658),(-28.113,-0.658),(-28.113,0.092),(-28.863,0.842),(-29.013,0.842),(-29.013,-0.658)],
  [(-34.22,-5.49),(-34.22,-5.19),(-34.07,-5.19),(-34.07,-3.69),(-34.22,-3.69),(-34.22,-3.39),(-33.62,-3.39),(-33.62,-3.69),(-33.77,-3.69),(-33.77,-5.19),(-33.62,-5.19),(-33.62,-5.49)],
  [(-36.17,4.11),(-36.47,4.41),(-36.47,5.91),(-36.17,6.21),(-35.27,6.21),(-34.97,5.91),(-34.97,5.61),(-35.27,5.61),(-35.27,5.76),(-35.42,5.91),(-36.02,5.91),(-36.17,5.76),(-36.17,4.56),(-36.02,4.41),(-35.42,4.41),(-35.27,4.56),(-35.27,4.71),(-34.97,4.71),(-34.97,4.41),(-35.27,4.11)],
  [(-27.513,-0.658),(-27.513,1.442),(-27.213,1.442),(-26.913,1.142),(-26.613,1.142),(-26.313,1.442),(-26.013,1.442),(-26.013,-0.658),(-26.313,-0.658),(-26.313,0.842),(-26.463,0.842),(-26.763,0.542),(-27.063,0.842),(-27.213,0.842),(-27.213,-0.658)],
  [(-32.613,-0.658),(-32.913,-0.358),(-32.913,1.142),(-32.613,1.442),(-31.713,1.442),(-31.413,1.142),(-32.463,1.142),(-32.613,0.992),(-32.613,-0.208),(-32.463,-0.358),(-31.863,-0.358),(-31.713,-0.208),(-31.713,0.992),(-31.863,1.142),(-31.413,1.142),(-31.413,-0.358),(-31.713,-0.658)],
  [(-32.87,-5.49),(-32.87,-3.39),(-31.82,-3.39),(-31.52,-3.69),(-32.57,-3.69),(-32.57,-5.19),(-31.97,-5.19),(-31.67,-4.89),(-31.67,-3.99),(-31.97,-3.69),(-31.52,-3.69),(-31.37,-3.84),(-31.37,-5.04),(-31.82,-5.49)],
  [(-34.67,-3.09),(-34.67,-0.99),(-33.62,-0.99),(-33.32,-1.29),(-34.37,-1.29),(-34.37,-2.79),(-33.77,-2.79),(-33.47,-2.49),(-33.47,-1.59),(-33.77,-1.29),(-33.32,-1.29),(-33.17,-1.44),(-33.17,-2.64),(-33.62,-3.09)],
  [(-23.57,-3.09),(-23.87,-2.79),(-23.87,-2.49),(-23.57,-2.49),(-23.57,-2.64),(-23.42,-2.79),(-22.82,-2.79),(-22.67,-2.64),(-22.67,-2.34),(-22.82,-2.19),(-23.57,-2.19),(-23.87,-1.89),(-23.87,-1.29),(-23.57,-0.99),(-22.67,-0.99),(-22.37,-1.29),(-22.37,-1.59),(-22.67,-1.59),(-22.67,-1.44),(-22.82,-1.29),(-23.42,-1.29),(-23.57,-1.44),(-23.57,-1.74),(-23.42,-1.89),(-22.67,-1.89),(-22.37,-2.19),(-22.37,-2.79),(-22.67,-3.09)],
  [(-36.213,-0.658),(-36.513,-0.358),(-36.513,-0.058),(-36.213,-0.058),(-36.213,-0.208),(-36.063,-0.358),(-35.463,-0.358),(-35.313,-0.208),(-35.313,0.242),(-35.463,0.392),(-36.513,0.392),(-36.513,1.442),(-35.013,1.442),(-35.013,1.142),(-36.213,1.142),(-36.213,0.692),(-35.313,0.692),(-35.013,0.392),(-35.013,-0.358),(-35.313,-0.658)],
  [(-34.413,-0.658),(-34.713,-0.358),(-34.713,-0.058),(-34.413,-0.058),(-34.413,-0.208),(-34.263,-0.358),(-33.663,-0.358),(-33.513,-0.208),(-33.513,0.242),(-33.663,0.392),(-34.713,0.392),(-34.713,1.442),(-33.213,1.442),(-33.213,1.142),(-34.413,1.142),(-34.413,0.692),(-33.513,0.692),(-33.213,0.392),(-33.213,-0.358),(-33.513,-0.658)],
  [(-37.97,-3.09),(-38.27,-2.79),(-38.27,-2.19),(-38.12,-2.04),(-38.27,-1.89),(-38.27,-1.29),(-37.97,-0.99),(-37.07,-0.99),(-36.77,-1.29),(-37.82,-1.29),(-37.97,-1.44),(-37.97,-1.74),(-37.82,-1.89),(-37.22,-1.89),(-37.07,-1.74),(-37.07,-1.44),(-37.22,-1.29),(-36.77,-1.29),(-36.77,-1.89),(-36.92,-2.04),(-36.77,-2.19),(-37.82,-2.19),(-37.97,-2.34),(-37.97,-2.64),(-37.82,-2.79),(-37.22,-2.79),(-37.07,-2.64),(-37.07,-2.34),(-37.22,-2.19),(-36.77,-2.19),(-36.77,-2.79),(-37.07,-3.09)],
  [(-38.313,-0.658),(-38.313,-0.358),(-37.713,-0.358),(-37.713,0.842),(-37.863,0.842),(-38.163,0.542),(-38.313,0.542),(-38.313,0.842),(-37.713,1.442),(-37.413,1.442),(-37.413,-0.358),(-36.813,-0.358),(-36.813,-0.658)],
  [(-36.47,-5.49),(-36.47,-5.04),(-36.02,-4.59),(-36.02,-4.29),(-36.47,-3.84),(-36.47,-3.39),(-36.17,-3.39),(-36.17,-3.69),(-35.72,-4.14),(-35.27,-3.69),(-35.27,-3.39),(-34.97,-3.39),(-34.97,-3.84),(-35.42,-4.29),(-35.42,-4.59),(-34.97,-5.04),(-34.97,-5.49),(-35.27,-5.49),(-35.27,-5.19),(-35.72,-4.74),(-36.17,-5.19),(-36.17,-5.49)],
  [(-30.77,-3.09),(-31.07,-2.79),(-31.07,-1.29),(-30.77,-0.99),(-29.87,-0.99),(-29.57,-1.29),(-29.57,-1.59),(-29.87,-1.59),(-29.87,-1.44),(-30.02,-1.29),(-30.62,-1.29),(-30.77,-1.44),(-30.77,-2.64),(-30.62,-2.79),(-30.02,-2.79),(-29.87,-2.64),(-29.87,-2.19),(-30.32,-2.19),(-30.32,-1.89),(-29.57,-1.89),(-29.57,-2.79),(-29.87,-3.09)],
  [(-37.97,4.11),(-38.27,4.41),(-38.27,5.91),(-37.97,6.21),(-37.07,6.21),(-36.77,5.91),(-36.77,5.61),(-37.07,5.61),(-37.07,5.76),(-37.22,5.91),(-37.82,5.91),(-37.97,5.76),(-37.97,4.56),(-37.82,4.41),(-37.22,4.41),(-37.07,4.56),(-37.07,5.01),(-37.52,5.01),(-37.52,5.31),(-36.77,5.31),(-36.77,4.41),(-37.07,4.11)],
  [(-29.27,-3.09),(-29.27,-0.99),(-28.07,-0.99),(-27.77,-1.29),(-28.97,-1.29),(-28.97,-1.89),(-28.22,-1.89),(-28.07,-1.74),(-28.07,-1.44),(-28.22,-1.29),(-27.77,-1.29),(-27.77,-1.89),(-28.07,-2.19),(-28.07,-2.34),(-27.77,-2.64),(-27.77,-3.09),(-28.07,-3.09),(-28.07,-2.79),(-28.67,-2.19),(-28.97,-2.19),(-28.97,-3.09)])
P(gc_te_1550_8degoxide_bb, DevRec, [(-37.607,-13.5),(-38.627,-10.245),(-39.378,-6.832),(-39.647,-5.058),(-39.835,-3.274),(-39.969,0.224),(-39.812,3.541),(-39.331,7.097),(-38.557,10.505),(-37.546,13.669),(-22.8,8.353),(-14.109,5.36),(0,0.75),(0,-0.75),(-14.109,-5.36)])
P(gc_te_1550_8degoxide_bb, FbrTgt, [(-20.621,-4.5),(-21.495,-4.37),(-22.326,-4.073),(-23.084,-3.619),(-23.738,-3.026),(-24.264,-2.316),(-24.642,-1.518),(-24.857,-0.661),(-24.9,0.221),(-24.77,1.095),(-24.473,1.926),(-24.019,2.684),(-23.426,3.338),(-22.716,3.864),(-21.918,4.242),(-21.061,4.457),(-20.179,4.5),(-19.305,4.37),(-18.474,4.073),(-17.716,3.619),(-17.062,3.026),(-16.536,2.316),(-16.158,1.518),(-15.943,0.661),(-15.9,-0.221),(-16.03,-1.095),(-16.327,-1.926),(-16.781,-2.684),(-17.374,-3.338),(-18.084,-3.864),(-18.882,-4.242),(-19.739,-4.457)])
gc_te_1550_8degoxide_bb.add(gdstk.FlexPath([(-0.01,0),(0.01,0)], 0.5, ends="flush", simple_path=True, layer=1, datatype=10))  # PinRec
gc_te_1550_8degoxide_bb.add(gdstk.Reference(text, (-32,4)))
gc_te_1550_8degoxide_bb.add(gdstk.Label('opt1', (0,0), layer=1, texttype=10))
gc_te_1550_8degoxide_bb.add(gdstk.Label('Lumerical_INTERCONNECT_library=Design kits/ebeam', (-29,-7), layer=68, texttype=0))
gc_te_1550_8degoxide_bb.add(gdstk.Label('Component=GC_TE_1550_8degOxide_BB', (-28,-5), layer=68, texttype=0))

mzi6 = lib.new_cell('MZI6')
mzi6.add(gdstk.Reference(waveguide_4, (302.369,203.91)))
mzi6.add(gdstk.Reference(waveguide, (302.369,203.91)))
mzi6.add(gdstk.Reference(ebeam_y_1550, (47.369,13.5)))
mzi6.add(gdstk.Reference(ebeam_y_1550, (47.369,140.5)))
mzi6.add(gdstk.Reference(gc_te_1550_8degoxide_bb, (39.969,13.5)))
mzi6.add(gdstk.Reference(gc_te_1550_8degoxide_bb, (39.969,140.5)))
mzi6.add(gdstk.Label('opt_in_TE_1550_device_brandaofg_MZI6', (39.969,140.5), layer=10, texttype=0))

lib.write_gds('MZI6.gds')
